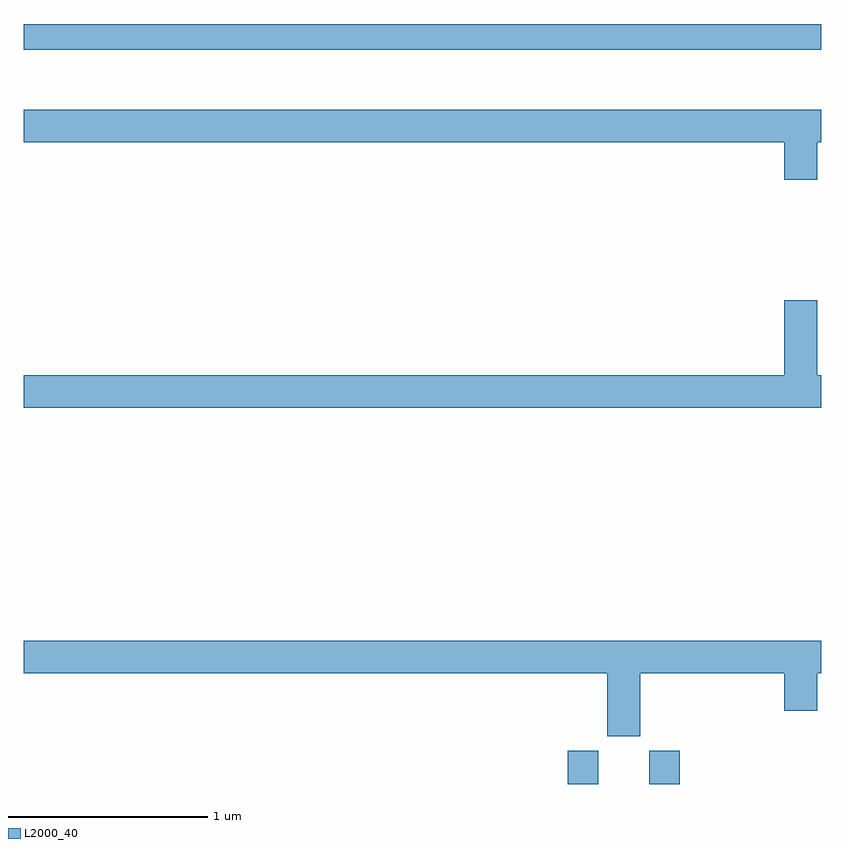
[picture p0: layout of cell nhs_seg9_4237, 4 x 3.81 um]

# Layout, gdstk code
import gdstk
lib = gdstk.Library(unit=1e-6, precision=1e-09)
def R(c, l, rs):  # rectangles x0, y0, x1, y1
    for r in rs: c.add(gdstk.rectangle(r[:2], r[2:], *l))
def P(c, l, *ps):  # polygons
    for p in ps: c.add(gdstk.Polygon(p, *l))
L2000_40 = (2000, 40)

nhs_seg9_4237 = lib.new_cell('nhs_seg9_4237')
R(nhs_seg9_4237, L2000_40, [(355.73,1226.5,355.882,1226.667), (356.138,1226.5,356.291,1226.667), (353,1230.186,357,1230.314)])
P(nhs_seg9_4237, L2000_40, [(356.98,1229.72),(357,1229.72),(357,1229.884),(353,1229.884),(353,1229.72),(356.816,1229.72),(356.816,1229.532),(356.98,1229.532)],
  [(357,1228.552),(356.98,1228.552),(356.98,1228.927),(356.816,1228.927),(356.816,1228.552),(353,1228.552),(353,1228.388),(357,1228.388)],
  [(356.092,1227.056),(356.816,1227.056),(356.816,1226.868),(356.98,1226.868),(356.98,1227.056),(357,1227.056),(357,1227.22),(353,1227.22),(353,1227.056),(355.928,1227.056),(355.928,1226.739),(356.092,1226.739)])

lib.write_gds('nhs_seg9_4237.gds')
